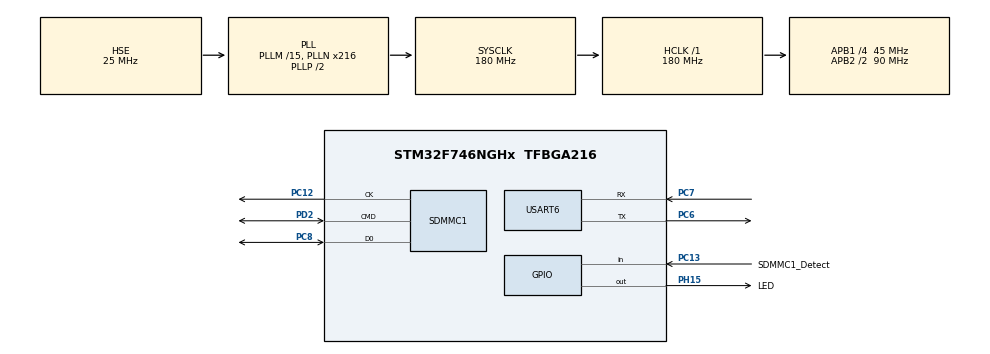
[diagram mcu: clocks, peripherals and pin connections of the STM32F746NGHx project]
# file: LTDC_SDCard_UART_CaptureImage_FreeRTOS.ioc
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Dma.Request0=SDMMC1_RX
Dma.Request1=SDMMC1_TX
Dma.SDMMC1_RX.0.Direction=DMA_PERIPH_TO_MEMORY
Dma.SDMMC1_RX.0.FIFOMode=DMA_FIFOMODE_ENABLE
Dma.SDMMC1_RX.0.FIFOThreshold=DMA_FIFO_THRESHOLD_FULL
Dma.SDMMC1_RX.0.Instance=DMA2_Stream3
Dma.SDMMC1_RX.0.MemBurst=DMA_MBURST_INC4
Dma.SDMMC1_RX.0.MemDataAlignment=DMA_MDATAALIGN_WORD
Dma.SDMMC1_RX.0.MemInc=DMA_MINC_ENABLE
Dma.SDMMC1_RX.0.Mode=DMA_PFCTRL
Dma.SDMMC1_RX.0.PeriphBurst=DMA_PBURST_INC4
Dma.SDMMC1_RX.0.PeriphDataAlignment=DMA_PDATAALIGN_WORD
Dma.SDMMC1_RX.0.PeriphInc=DMA_PINC_DISABLE
Dma.SDMMC1_RX.0.Priority=DMA_PRIORITY_LOW
Dma.SDMMC1_TX.1.Direction=DMA_MEMORY_TO_PERIPH
Dma.SDMMC1_TX.1.FIFOMode=DMA_FIFOMODE_ENABLE
Dma.SDMMC1_TX.1.FIFOThreshold=DMA_FIFO_THRESHOLD_FULL
Dma.SDMMC1_TX.1.Instance=DMA2_Stream6
Dma.SDMMC1_TX.1.MemBurst=DMA_MBURST_INC4
Dma.SDMMC1_TX.1.MemDataAlignment=DMA_MDATAALIGN_WORD
Dma.SDMMC1_TX.1.MemInc=DMA_MINC_ENABLE
Dma.SDMMC1_TX.1.Mode=DMA_PFCTRL
Dma.SDMMC1_TX.1.PeriphBurst=DMA_PBURST_INC4
Dma.SDMMC1_TX.1.PeriphDataAlignment=DMA_PDATAALIGN_WORD
Dma.SDMMC1_TX.1.PeriphInc=DMA_PINC_DISABLE
Dma.SDMMC1_TX.1.Priority=DMA_PRIORITY_LOW
FATFS.BSP.number=1
FATFS._MAX_SS=4096
FATFS0.BSP.STBoard=false
FATFS0.BSP.api=Unknown
FATFS0.BSP.instance=PC13
FATFS0.BSP.ip=GPIO
FATFS0.BSP.mode=Input
FATFS0.BSP.name=Detect_SDIO
FATFS0.BSP.solution=PC13
FREERTOS.BinarySemaphores01=recDataBinarySemaphore,Dynamic,NULL,Available;saveSdCardBinarySemaphore,Dynamic,NULL,Available
FREERTOS.Tasks01=defaultTask,0,256,StartDefaultTask,Default,NULL,Dynamic,NULL,NULL;recDataTask,1,1024,StartReceiveDataTask,Default,NULL,Dynamic,NULL,NULL;analysisDataTas,0,1024,StartAnalysisDataTask,Default,NULL,Dynamic,NULL,NULL;saveSdCardTask,0,1024,StartSaveToSdCardTask,Default,NULL,Dynamic,NULL,NULL
FREERTOS.configTOTAL_HEAP_SIZE=15000
FREERTOS.configUSE_COUNTING_SEMAPHORES=1
FREERTOS.configUSE_NEWLIB_REENTRANT=1
Mcu.Family=STM32F7
Mcu.Name=STM32F746NGHx
Mcu.Package=TFBGA216
NVIC.DMA2_Stream3_IRQn=true\:5\:0\:false\:false\:true\:true\:false\:true\:true
NVIC.DMA2_Stream6_IRQn=true\:5\:0\:false\:false\:true\:true\:false\:true\:true
NVIC.PriorityGroup=NVIC_PRIORITYGROUP_4
NVIC.SDMMC1_IRQn=true\:5\:0\:false\:false\:true\:true\:true\:true\:true
NVIC.TIM8_TRG_COM_TIM14_IRQn=true\:15\:0\:false\:false\:true\:false\:false\:true\:true
NVIC.TimeBase=TIM8_TRG_COM_TIM14_IRQn
NVIC.TimeBaseIP=TIM14
NVIC.USART6_IRQn=true\:5\:0\:true\:false\:true\:true\:true\:true\:true
PA13.Mode=Serial_Wire
PA13.Signal=SYS_JTMS-SWDIO
PA14.Mode=Serial_Wire
PA14.Signal=SYS_JTCK-SWCLK
PC12.Mode=SD_1_bit
PC12.Signal=SDMMC1_CK
PC13.GPIO_Label=SDMMC1_Detect
PC13.Signal=GPIO_Input
PC6.Mode=Asynchronous
PC6.Signal=USART6_TX
PC7.Mode=Asynchronous
PC7.Signal=USART6_RX
PC8.Mode=SD_1_bit
PC8.Signal=SDMMC1_D0
PD2.Mode=SD_1_bit
PD2.Signal=SDMMC1_CMD
PH0/OSC_IN.Mode=HSE-External-Oscillator
PH0/OSC_IN.Signal=RCC_OSC_IN
PH1/OSC_OUT.Mode=HSE-External-Oscillator
PH1/OSC_OUT.Signal=RCC_OSC_OUT
PH15.GPIO_Label=LED
PH15.Signal=GPIO_Output
ProjectManager.HeapSize=0x200
ProjectManager.StackSize=0x400
ProjectManager.TargetToolchain=STM32CubeIDE
RCC.AHBFreq_Value=180000000
RCC.APB1CLKDivider=RCC_HCLK_DIV4
RCC.APB1Freq_Value=45000000
RCC.APB1TimFreq_Value=90000000
RCC.APB2CLKDivider=RCC_HCLK_DIV2
RCC.APB2Freq_Value=90000000
RCC.APB2TimFreq_Value=180000000
RCC.CortexFreq_Value=180000000
RCC.HCLKFreq_Value=180000000
RCC.HSE_VALUE=25000000
RCC.HSI_VALUE=16000000
RCC.LSE_VALUE=32768
RCC.PLLM=15
RCC.PLLN=216
RCC.PLLQ=15
RCC.PLLSourceVirtual=RCC_PLLSOURCE_HSE
RCC.SDMMCClockSelection=RCC_SDMMC1CLKSOURCE_CLK48
RCC.SYSCLKFreq_VALUE=180000000
RCC.SYSCLKSource=RCC_SYSCLKSOURCE_PLLCLK
RCC.USBFreq_Value=24000000
RCC.VCOOutputFreq_Value=360000000
USART6.VirtualMode-Asynchronous=VM_ASYNC
VP_FATFS_VS_SDIO.Mode=SDIO
VP_FREERTOS_VS_CMSIS_V1.Mode=CMSIS_V1
VP_SYS_VS_tim14.Mode=TIM14
board=custom

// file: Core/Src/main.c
/* USER CODE BEGIN Header */
/**
  ******************************************************************************
  * @file           : main.c
  * @brief          : Main program body
  ******************************************************************************
  * @attention
  *
  * Copyright (c) 2025 STMicroelectronics.
  * All rights reserved.
  *
  * This software is licensed under terms that can be found in the LICENSE file
  * in the root directory of this software component.
  * If no LICENSE file comes with this software, it is provided AS-IS.
  *
  ******************************************************************************
  */
/* USER CODE END Header */
#include "main.h"
#include "cmsis_os.h"
#include "fatfs.h"

/* USER CODE BEGIN Includes */
#include "stdio.h"
#include "SDCard_Configuration.h"
/* USER CODE END Includes */

/* USER CODE BEGIN PD */
#define ImageBufferSize							30000
/* USER CODE END PD */

SD_HandleTypeDef hsd1;
DMA_HandleTypeDef hdma_sdmmc1_rx;
DMA_HandleTypeDef hdma_sdmmc1_tx;

UART_HandleTypeDef huart6;

osThreadId defaultTaskHandle;
osThreadId recDataTaskHandle;
osThreadId analysisDataTasHandle;
osThreadId saveSdCardTaskHandle;

osSemaphoreId recDataBinarySemaphoreHandle;
osSemaphoreId saveSdCardBinarySemaphoreHandle;
/* USER CODE BEGIN PV */
uint8_t RecData = 0;
uint8_t recBuffer[ImageBufferSize];
uint32_t recCount = 0;
uint32_t imageLen = 0;

uint8_t imageBuffer[ImageBufferSize];

char filename[32];
char sd_buffer[100];
#define ImageBuffer_Record		0x01
#define ReceiveBuffer_Record	0x01
/* USER CODE END PV */

void SystemClock_Config(void);
static void MX_GPIO_Init(void);
static void MX_DMA_Init(void);
static void MX_USART6_UART_Init(void);
static void MX_SDMMC1_SD_Init(void);
void StartDefaultTask(void const * argument);
void StartReceiveDataTask(void const * argument);
void StartAnalysisDataTask(void const * argument);
void StartSaveToSdCardTask(void const * argument);

/* USER CODE BEGIN 0 */
int _write(int file, char *ptr, int len)
{
	int i = 0;
	for(i = 0; i < len; i++)
	{
		ITM_SendChar(*ptr++);
	}
	return len;
}
/* USER CODE END 0 */

int main(void)
{

  /* MCU Configuration--------------------------------------------------------*/

  /* Reset of all peripherals, Initializes the Flash interface and the Systick. */
  HAL_Init();

  /* Configure the system clock */
  SystemClock_Config();

  /* Initialize all configured peripherals */
  MX_GPIO_Init();
  MX_DMA_Init();
  MX_USART6_UART_Init();
  MX_SDMMC1_SD_Init();
  MX_FATFS_Init();
  /* USER CODE BEGIN 2 */
  HAL_UART_Receive_IT(&huart6, &RecData, 1);
  /* USER CODE END 2 */

  /* Create the semaphores(s) */
  /* definition and creation of recDataBinarySemaphore */
  osSemaphoreDef(recDataBinarySemaphore);
  recDataBinarySemaphoreHandle = osSemaphoreCreate(osSemaphore(recDataBinarySemaphore), 1);

  /* definition and creation of saveSdCardBinarySemaphore */
  osSemaphoreDef(saveSdCardBinarySemaphore);
  saveSdCardBinarySemaphoreHandle = osSemaphoreCreate(osSemaphore(saveSdCardBinarySemaphore), 1);

  /* USER CODE BEGIN RTOS_SEMAPHORES */
  /* add semaphores, ... */
  if(saveSdCardBinarySemaphoreHandle != NULL)
  {
      // <---- ----- Non-blocking wait to take the token. This makes current count 0 ----- ---->
      osSemaphoreWait(saveSdCardBinarySemaphoreHandle, 0);
  }
  /* USER CODE END RTOS_SEMAPHORES */

  /* Create the thread(s) */
  /* definition and creation of defaultTask */
  osThreadDef(defaultTask, StartDefaultTask, osPriorityNormal, 0, 256);
  defaultTaskHandle = osThreadCreate(osThread(defaultTask), NULL);

  /* definition and creation of recDataTask */
  osThreadDef(recDataTask, StartReceiveDataTask, osPriorityAboveNormal, 0, 1024);
  recDataTaskHandle = osThreadCreate(osThread(recDataTask), NULL);

  /* definition and creation of analysisDataTas */
  osThreadDef(analysisDataTas, StartAnalysisDataTask, osPriorityNormal, 0, 1024);
  analysisDataTasHandle = osThreadCreate(osThread(analysisDataTas), NULL);

  /* definition and creation of saveSdCardTask */
  osThreadDef(saveSdCardTask, StartSaveToSdCardTask, osPriorityNormal, 0, 1024);
  saveSdCardTaskHandle = osThreadCreate(osThread(saveSdCardTask), NULL);

  /* Start scheduler */
  osKernelStart();

  /* We should never get here as control is now taken by the scheduler */

  /* Infinite loop */
  while (1)
  {

  }
}

void SystemClock_Config(void)
{
  RCC_OscInitTypeDef RCC_OscInitStruct = {0};
  RCC_ClkInitTypeDef RCC_ClkInitStruct = {0};

  /** Configure the main internal regulator output voltage
  */
  __HAL_RCC_PWR_CLK_ENABLE();
  __HAL_PWR_VOLTAGESCALING_CONFIG(PWR_REGULATOR_VOLTAGE_SCALE1);

  /** Initializes the RCC Oscillators according to the specified parameters
  * in the RCC_OscInitTypeDef structure.
  */
  RCC_OscInitStruct.OscillatorType = RCC_OSCILLATORTYPE_HSE;
  RCC_OscInitStruct.HSEState = RCC_HSE_ON;
  RCC_OscInitStruct.PLL.PLLState = RCC_PLL_ON;
  RCC_OscInitStruct.PLL.PLLSource = RCC_PLLSOURCE_HSE;
  RCC_OscInitStruct.PLL.PLLM = 15;
  RCC_OscInitStruct.PLL.PLLN = 216;
  RCC_OscInitStruct.PLL.PLLP = RCC_PLLP_DIV2;
  RCC_OscInitStruct.PLL.PLLQ = 15;
  if (HAL_RCC_OscConfig(&RCC_OscInitStruct) != HAL_OK)
  {
    Error_Handler();
  }

  /** Initializes the CPU, AHB and APB buses clocks
  */
  RCC_ClkInitStruct.ClockType = RCC_CLOCKTYPE_HCLK|RCC_CLOCKTYPE_SYSCLK
                              |RCC_CLOCKTYPE_PCLK1|RCC_CLOCKTYPE_PCLK2;
  RCC_ClkInitStruct.SYSCLKSource = RCC_SYSCLKSOURCE_PLLCLK;
  RCC_ClkInitStruct.AHBCLKDivider = RCC_SYSCLK_DIV1;
  RCC_ClkInitStruct.APB1CLKDivider = RCC_HCLK_DIV4;
  RCC_ClkInitStruct.APB2CLKDivider = RCC_HCLK_DIV2;

  if (HAL_RCC_ClockConfig(&RCC_ClkInitStruct, FLASH_LATENCY_5) != HAL_OK)
  {
    Error_Handler();
  }
}

static void MX_SDMMC1_SD_Init(void)
{

  hsd1.Instance = SDMMC1;
  hsd1.Init.ClockEdge = SDMMC_CLOCK_EDGE_RISING;
  hsd1.Init.ClockBypass = SDMMC_CLOCK_BYPASS_DISABLE;
  hsd1.Init.ClockPowerSave = SDMMC_CLOCK_POWER_SAVE_DISABLE;
  hsd1.Init.BusWide = SDMMC_BUS_WIDE_1B;
  hsd1.Init.HardwareFlowControl = SDMMC_HARDWARE_FLOW_CONTROL_DISABLE;
  hsd1.Init.ClockDiv = 0;

}

static void MX_USART6_UART_Init(void)
{

  huart6.Instance = USART6;
  huart6.Init.BaudRate = 115200;
  huart6.Init.WordLength = UART_WORDLENGTH_8B;
  huart6.Init.StopBits = UART_STOPBITS_1;
  huart6.Init.Parity = UART_PARITY_NONE;
  huart6.Init.Mode = UART_MODE_TX_RX;
  huart6.Init.HwFlowCtl = UART_HWCONTROL_NONE;
  huart6.Init.OverSampling = UART_OVERSAMPLING_16;
  huart6.Init.OneBitSampling = UART_ONE_BIT_SAMPLE_DISABLE;
  huart6.AdvancedInit.AdvFeatureInit = UART_ADVFEATURE_NO_INIT;
  if (HAL_UART_Init(&huart6) != HAL_OK)
  {
    Error_Handler();
  }

}

static void MX_DMA_Init(void)
{

  /* DMA controller clock enable */
  __HAL_RCC_DMA2_CLK_ENABLE();

  /* DMA interrupt init */
  /* DMA2_Stream3_IRQn interrupt configuration */
  HAL_NVIC_SetPriority(DMA2_Stream3_IRQn, 5, 0);
  HAL_NVIC_EnableIRQ(DMA2_Stream3_IRQn);
  /* DMA2_Stream6_IRQn interrupt configuration */
  HAL_NVIC_SetPriority(DMA2_Stream6_IRQn, 5, 0);
  HAL_NVIC_EnableIRQ(DMA2_Stream6_IRQn);

}

static void MX_GPIO_Init(void)
{
  GPIO_InitTypeDef GPIO_InitStruct = {0};

  /* GPIO Ports Clock Enable */
  __HAL_RCC_GPIOC_CLK_ENABLE();
  __HAL_RCC_GPIOA_CLK_ENABLE();
  __HAL_RCC_GPIOD_CLK_ENABLE();
  __HAL_RCC_GPIOH_CLK_ENABLE();

  /*Configure GPIO pin Output Level */
  HAL_GPIO_WritePin(LED_GPIO_Port, LED_Pin, GPIO_PIN_RESET);

  /*Configure GPIO pin : SDMMC1_Detect_Pin */
  GPIO_InitStruct.Pin = SDMMC1_Detect_Pin;
  GPIO_InitStruct.Mode = GPIO_MODE_INPUT;
  GPIO_InitStruct.Pull = GPIO_NOPULL;
  HAL_GPIO_Init(SDMMC1_Detect_GPIO_Port, &GPIO_InitStruct);

  /*Configure GPIO pin : LED_Pin */
  GPIO_InitStruct.Pin = LED_Pin;
  GPIO_InitStruct.Mode = GPIO_MODE_OUTPUT_PP;
  GPIO_InitStruct.Pull = GPIO_NOPULL;
  GPIO_InitStruct.Speed = GPIO_SPEED_FREQ_LOW;
  HAL_GPIO_Init(LED_GPIO_Port, &GPIO_InitStruct);

}

/* USER CODE BEGIN 4 */
void HAL_UART_RxCpltCallback(UART_HandleTypeDef *huart)
{
	if(huart->Instance == USART6)
	{
		HAL_UART_Receive_IT(&huart6, &RecData, 1);

        BaseType_t xHigherPriorityTaskWoken = pdFALSE;
        xSemaphoreGiveFromISR(recDataBinarySemaphoreHandle, &xHigherPriorityTaskWoken);
        portYIELD_FROM_ISR(xHigherPriorityTaskWoken);
	}
}
/* USER CODE END 4 */

void StartDefaultTask(void const * argument)
{
  /* USER CODE BEGIN 5 */
  /* Infinite loop */
  for(;;)
  {
	  HAL_GPIO_TogglePin(LED_GPIO_Port, LED_Pin);
	  osDelay(1000);
  }
  /* USER CODE END 5 */
}

void StartReceiveDataTask(void const * argument)
{
  /* USER CODE BEGIN StartReceiveDataTask */
  /* Infinite loop */
	for(;;)
	{
		if(xSemaphoreTake(recDataBinarySemaphoreHandle, portMAX_DELAY) == pdTRUE)
		{
			recBuffer[recCount++] = RecData;
			if(recCount == 9)
			{
				if(recBuffer[1] == 'I' && recBuffer[2] == 'M' && recBuffer[3] == 'G' && recBuffer[4] == '0')
				{
					printf("<---- ----- Marker was OK ----- ---->\r\n");
					imageLen = (uint32_t)recBuffer[5] | ((uint32_t)recBuffer[6] << 8) | ((uint32_t)recBuffer[7] << 16) | ((uint32_t)recBuffer[8] << 24);
					printf("<---- ----- Image Length is: %lu ----- ---->\r\n", (unsigned long)imageLen);
				}
			}
		}
	}
  /* USER CODE END StartReceiveDataTask */
}

void StartAnalysisDataTask(void const * argument)
{
  /* USER CODE BEGIN StartAnalysisDataTask */
  /* Infinite loop */
  for(;;)
  {
	  if(recCount == imageLen)
	  {
		  for(uint32_t i = 0; i < imageLen; i++)
		  {
			  imageBuffer[i] = recBuffer[i + 9];
		  }
		  printf("<---- ----- Image was copied to buffer ----- ---->\r\n");

		  recCount = 1;
		  xSemaphoreGive(saveSdCardBinarySemaphoreHandle);
	  }

	  osDelay(1);
  }
  /* USER CODE END StartAnalysisDataTask */
}

void StartSaveToSdCardTask(void const * argument)
{
  /* USER CODE BEGIN StartSaveToSdCardTask */
	uint16_t SD_Chunk_Size = 512;
  /* Infinite loop */
  for(;;)
  {
	  if(xSemaphoreTake(saveSdCardBinarySemaphoreHandle, portMAX_DELAY) == pdTRUE)
	  {
#if ImageBuffer_Record
		  Mount_SD(SDPath);
		  Format_SD();
		  Check_SD_Space();
		  Create_File("MRL1.txt");

		  // Write a header
		  sprintf(sd_buffer, "Hello to MRL-HSL from Sbzrgn \n");
		  Update_File("MRL1.txt", sd_buffer);

		  // Write imageBuffer in HEX in chunks
		  for(uint32_t i = 0; i < imageLen; i += SD_Chunk_Size)
		  {
			  uint32_t chunkEnd = i + SD_Chunk_Size;
			  if(chunkEnd > imageLen)
			  {
				  chunkEnd = imageLen;
			  }

			  uint32_t bufIndex = 0;
			  for(uint32_t j = i; j < chunkEnd; j++)
			  {
				  // convert byte to HEX string
				  bufIndex += sprintf(&sd_buffer[bufIndex], "%02X", imageBuffer[j]);
			  }

			  // Append chunk to SD file
			  Update_File("MRL1.txt", sd_buffer);
		  }

		  Unmount_SD(SDPath);
		  printf("sssssssssssssssssssssssssss\r\n");

#endif
#if ReceiveBuffer_Record
		  Mount_SD(SDPath);
//		  Format_SD();
		  Check_SD_Space();
		  Create_File("MRL2.txt");

		  // Write a header
		  sprintf(sd_buffer, "Hello to MRL-HSL from Sbzrgn \n");
		  Update_File("MRL2.txt", sd_buffer);

		  // Write imageBuffer in HEX in chunks
		  for(uint32_t i = 0; i < imageLen; i += SD_Chunk_Size)
		  {
			  uint32_t chunkEnd = i + SD_Chunk_Size;
			  if(chunkEnd > imageLen)
			  {
				  chunkEnd = imageLen;
			  }

			  uint32_t bufIndex = 0;
			  for(uint32_t j = i; j < chunkEnd; j++)
			  {
				  // convert byte to HEX string
				  bufIndex += sprintf(&sd_buffer[bufIndex], "%02X", recBuffer[j]);
			  }

			  // Append chunk to SD file
			  Update_File("MRL2.txt", sd_buffer);
		  }

		  Unmount_SD(SDPath);
		  printf("sssssssssssssssssssssssssss\r\n");
#endif
	  }
  }
  /* USER CODE END StartSaveToSdCardTask */
}

void HAL_TIM_PeriodElapsedCallback(TIM_HandleTypeDef *htim)
{
  if (htim->Instance == TIM14)
  {
    HAL_IncTick();
  }
}

void Error_Handler(void)
{
  __disable_irq();
  while (1)
  {
  }
}
